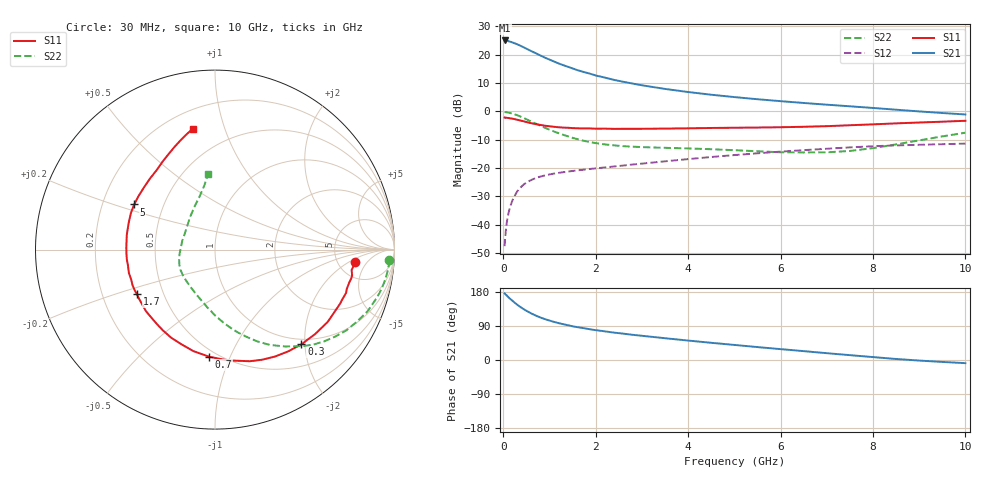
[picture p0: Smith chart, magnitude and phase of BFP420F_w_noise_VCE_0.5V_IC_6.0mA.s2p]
! Infineon Technologies  Discrete & RF Semiconductors
! BFP420F
! VCE =  0.5 V,  IC =  6.0 mA
! Common Emitter S-Parameters:  Sep 2011
# GHz  S  MA  R  50
!  f  S11  S21  S12  S22
! GHz  MAG  ANG  MAG  ANG  MAG  ANG  MAG  ANG
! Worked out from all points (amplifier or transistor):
!   54 points, 30 MHz to 10 GHz, reference 50 ohm
!   highest |S21| = 25.0 dB at 40 MHz (marker M1)
!   |S21| within 3 dB of that: start of sweep to 515.1 MHz
!   unconditionally stable (mu >= 1): 2.337 GHz to end of sweep
!   at 120 MHz: K = 0.10, MSG = 30.2 dB, |S12| = -35.5 dB
!   at 1.3 GHz: K = 0.64, MSG = 18.9 dB, |S12| = -21.4 dB
!   at 10 GHz: K = 1.31, MAG = 1.8 dB, |S12| = -11.4 dB
!   lowest NFmin = 1.00 dB at 450 MHz
!   S11 on the Smith chart (normalised r, x): 30 MHz: 7.24, -2.53; 300 MHz: 0.90, -1.93; 700 MHz: 0.45, -0.84; 1.7 GHz: 0.35, -0.23; 5 GHz: 0.34, +0.23; 10 GHz: 0.31, +0.78
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0.03  0.7812 -5.0  17.84 175.8  0.0042 87.9  0.9737 -3.5
0.04  0.7777 -6.7  17.87 174.5  0.0056 87.2  0.9728 -4.6
0.1  0.7663 -16.7  17.59 167.2  0.0141 81.7  0.9591 -11.3
0.15  0.7561 -24.8  17 161.4  0.0209 77.8  0.9396 -16.8
0.25  0.7299 -40.1  15.88 151.0  0.0326 70.5  0.8877 -26.8
0.3  0.7144 -47.6  15.36 146.2  0.0386 67.4  0.859 -31.6
0.35  0.6983 -54.3  14.7 141.7  0.0433 64.4  0.8266 -35.9
0.45  0.6674 -66.8  13.46 133.6  0.0519 59.0  0.7627 -43.9
0.6  0.6209 -83.6  11.66 123.3  0.0614 52.7  0.6665 -54.1
0.7  0.5977 -93.1  10.68 117.5  0.0667 49.6  0.6127 -60.1
0.8  0.5784 -102.0  9.747 112.3  0.0708 46.9  0.5617 -65.4
0.9  0.5598 -109.5  8.911 108.0  0.0743 44.9  0.5162 -70.2
1.1  0.5358 -122.7  7.6 100.5  0.0801 41.9  0.442 -79.0
1.4  0.5153 -138.3  6.133 91.8  0.087 39.7  0.364 -90.5
1.7  0.5016 -150.2  5.074 84.9  0.093 38.5  0.3089 -100.8
2.4  0.4929 -169.7  3.598 72.2  0.1071 37.8  0.2519 -121.3
3.5  0.4982 170.6  2.496 57.5  0.1318 37.2  0.2281 -142.5
5  0.5158 150.8  1.792 39.8  0.1698 33.1  0.2072 -164.8
5.5  0.5201 144.9  1.642 34.1  0.1826 31.0  0.1985 -173.6
7  0.5498 126.1  1.316 18.0  0.2197 23.7  0.1899 153.2
8.5  0.6157 111.4  1.073 2.7  0.2516 14.2  0.2624 116.3
10  0.6841 100.5  0.884 -8.3  0.2704 6.5  0.4216 95.2
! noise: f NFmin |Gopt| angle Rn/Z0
0.45  1  0.17  17  0.17
0.9  1.02  0.18  42  0.16
1.9  1.19  0.16  110  0.13
2.4  1.27  0.18  119  0.15
3.5  1.56  0.23  155  0.19
